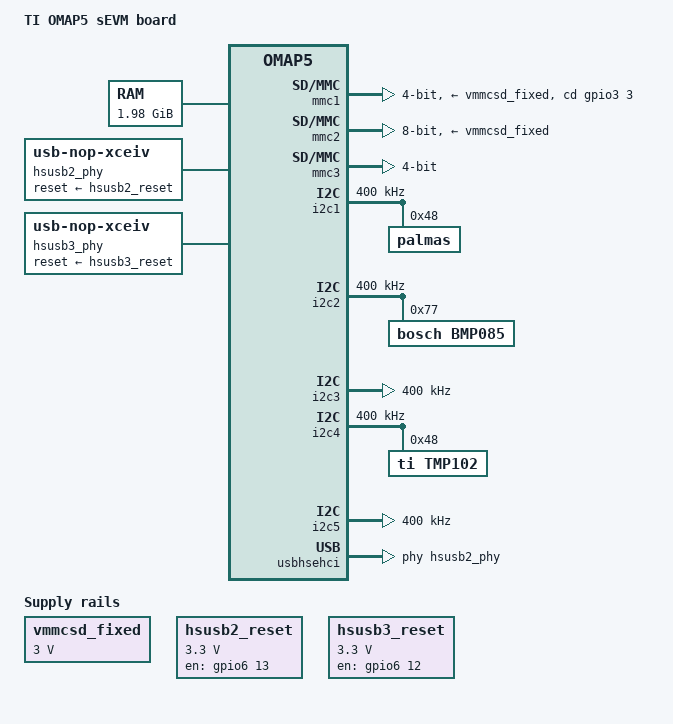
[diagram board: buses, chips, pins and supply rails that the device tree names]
/*
 * Copyright (C) 2012 Texas Instruments Incorporated - http://www.ti.com/
 *
 * This program is free software; you can redistribute it and/or modify
 * it under the terms of the GNU General Public License version 2 as
 * published by the Free Software Foundation.
 */
/dts-v1/;

/include/ "omap5.dtsi"
/include/ "samsung_k3pe0e000b.dtsi"

/ {
	model = "TI OMAP5 sEVM board";
	compatible = "ti,omap5-sevm", "ti,omap5";

	memory {
		device_type = "memory";
		reg = <0x80000000 0x7F000000>; /* 2032 MB */
	};

	vmmcsd_fixed: fixedregulator-mmcsd {
		compatible = "regulator-fixed";
		regulator-name = "vmmcsd_fixed";
		regulator-min-microvolt = <3000000>;
		regulator-max-microvolt = <3000000>;
	};

	/* HS USB Port 2 RESET */
	hsusb2_reset: hsusb2_reset_reg {
		compatible = "regulator-fixed";
		regulator-name = "hsusb2_reset";
		regulator-min-microvolt = <3300000>;
		regulator-max-microvolt = <3300000>;
		gpio = <&gpio6 13 0>;	/* gpio6_173 HUB_NRESET */
		startup-delay-us = <70000>;
		enable-active-high;
	};

	/* HS USB Host PHY on PORT 2 */
	hsusb2_phy: hsusb2_phy {
		compatible = "usb-nop-xceiv";
		reset-supply = <&hsusb2_reset>;
	};

	/* HS USB Port 3 RESET */
	hsusb3_reset: hsusb3_reset_reg {
		compatible = "regulator-fixed";
		regulator-name = "hsusb3_reset";
		regulator-min-microvolt = <3300000>;
		regulator-max-microvolt = <3300000>;
		gpio = <&gpio6 12 0>;	/* gpio6_172 ETH_NRESET */
		startup-delay-us = <70000>;
		enable-active-high;
	};

	/* HS USB Host PHY on PORT 3 */
	hsusb3_phy: hsusb3_phy {
		compatible = "usb-nop-xceiv";
		reset-supply = <&hsusb3_reset>;
	};

};

&omap5_pmx_core {
	pinctrl-names = "default";
	pinctrl-0 = <
			&twl6040_pins
			&mcpdm_pins
			&dmic_pins
			&mcbsp1_pins
			&mcbsp2_pins
			&usbhost_pins
	>;

	mmc1_pins: pinmux_mmc1_pins {
		pinctrl-single,pins = <
			0x1a2 0x118	/* sdcard_clk.sdcard_clk INPUT PULLUP | MODE0 */
			0x1a4 0x118	/* sdcard_cmd.sdcard_cmd INPUT PULLUP | MODE0 */
			0x1a6 0x118	/* sdcard_data2.sdcard_data2 INPUT PULLUP | MODE0 */
			0x1a8 0x118	/* sdcard_data3.sdcard_data3 INPUT PULLUP | MODE0 */
			0x1aa 0x118	/* sdcard_data0.sdcard_data0 INPUT PULLUP | MODE0 */
			0x1ac 0x118	/* sdcard_data1.sdcard_data1 INPUT PULLUP | MODE0 */
		>;
	};

	mmc2_pins: pinmux_mmc2_pins {
		pinctrl-single,pins = <
			0x0 0x118	/* emmc_clk.emmc_clk INPUT PULLUP | MODE0 */
			0x2 0x118	/* emmc_cmd.emmc_cmd INPUT PULLUP | MODE0 */
			0x4 0x118	/* emmc_data0.emmc_data0 INPUT PULLUP | MODE0 */
			0x6 0x118	/* emmc_data1.emmc_data1 INPUT PULLUP | MODE0 */
			0x8 0x118	/* emmc_data2.emmc_data2 INPUT PULLUP | MODE0 */
			0xa 0x118	/* emmc_data3.emmc_data3 INPUT PULLUP | MODE0 */
			0xc 0x118	/* emmc_data4.emmc_data4 INPUT PULLUP | MODE0 */
			0xe 0x118	/* emmc_data5.emmc_data5 INPUT PULLUP | MODE0 */
			0x10 0x118	/* emmc_data6.emmc_data6 INPUT PULLUP | MODE0 */
			0x12 0x118	/* emmc_data7.emmc_data7 INPUT PULLUP | MODE0 */
		>;
	};

	twl6040_pins: pinmux_twl6040_pins {
		pinctrl-single,pins = <
			0x18a 0x6	/* perslimbus2_clock.gpio5_145 OUTPUT | MODE6 */
		>;
	};

	mcpdm_pins: pinmux_mcpdm_pins {
		pinctrl-single,pins = <
			0x142 0x108	/* abe_clks.abe_clks INPUT PULLDOWN | MODE0 */
			0x15c 0x108	/* abemcpdm_ul_data.abemcpdm_ul_data INPUT PULLDOWN | MODE0 */
			0x15e 0x108	/* abemcpdm_dl_data.abemcpdm_dl_data INPUT PULLDOWN | MODE0 */
			0x160 0x118	/* abemcpdm_frame.abemcpdm_frame INPUT PULLUP | MODE0 */
			0x162 0x108	/* abemcpdm_lb_clk.abemcpdm_lb_clk INPUT PULLDOWN | MODE0 */
		>;
	};

	dmic_pins: pinmux_dmic_pins {
		pinctrl-single,pins = <
			0x144 0x100	/* abedmic_din1.abedmic_din1 INPUT | MODE0 */
			0x146 0x100	/* abedmic_din2.abedmic_din2 INPUT | MODE0 */
			0x148 0x100	/* abedmic_din3.abedmic_din3 INPUT | MODE0 */
			0x14a 0		/* abedmic_clk1.abedmic_clk1 OUTPUT | MODE0 */
		>;
	};

	mcbsp1_pins: pinmux_mcbsp1_pins {
		pinctrl-single,pins = <
			0x14c 0x101	/* abedmic_clk2.abemcbsp1_fsx INPUT | MODE1 */
			0x14e 0x9	/* abedmic_clk3.abemcbsp1_dx OUTPUT PULLDOWN | MODE1 */
			0x150 0x101	/* abeslimbus1_clock.abemcbsp1_clkx INPUT | MODE0 */
			0x152 0x109	/* abeslimbus1_data.abemcbsp1_dr INPUT PULLDOWN | MODE1 */
		>;
	};

	mcbsp2_pins: pinmux_mcbsp2_pins {
		pinctrl-single,pins = <
			0x154 0x108	/* abemcbsp2_dr.abemcbsp2_dr INPUT PULLDOWN | MODE0 */
			0x156 0x8	/* abemcbsp2_dx.abemcbsp2_dx OUTPUT PULLDOWN | MODE0 */
			0x158 0x100	/* abemcbsp2_fsx.abemcbsp2_fsx INPUT | MODE0 */
			0x15a 0x100	/* abemcbsp2_clkx.abemcbsp2_clkx INPUT | MODE0 */
		>;
	};

	usbhost_pins: pinmux_usbhost_pins {
		pinctrl-single,pins = <
			0x84 0x100	/* usbb2_hsic_strobe INPUT | MODE 0 */
			0x86 0x100	/* usbb2_hsic_data INPUT | MODE 0 */

			0x19e 0x100	/* usbb3_hsic_strobe INPUT | MODE 0 */
			0x1a0 0x100	/* usbb3_hsic_data INPUT | MODE 0 */

			0xD4 0x6	/* gpio6_173 OUTPUT | MODE 6 HUB_NRESET */
			0xD6 0x6	/* gpio6_172 OUTPUT | MODE 6 ETH_NRESET */
		>;
	};

        i2c1_pins: pinmux_i2c1_pins {
                pinctrl-single,pins = <
                        0x1b2 0x118        /* i2c1_scl PULLUP | INPUTENABLE | MODE0 */
                        0x1b4 0x118        /* i2c1_sda PULLUP | INPUTENABLE | MODE0 */
                >;
        };

	i2c2_pins: pinmux_i2c2_pins {
		pinctrl-single,pins = <
			0x178 0x100        /* i2c2_scl INPUTENABLE | MODE0 */
			0x17a 0x100        /* i2c2_sda INPUTENABLE | MODE0 */
		>;
	};

	i2c3_pins: pinmux_i2c3_pins {
		pinctrl-single,pins = <
			0x13a 0x100        /* i2c3_scl INPUTENABLE | MODE0 */
			0x13c 0x100     /* i2c3_sda INPUTENABLE | MODE0 */
		>;
	};

	i2c4_pins: pinmux_i2c4_pins {
		pinctrl-single,pins = <
			0xb8 0x100        /* i2c4_scl INPUTENABLE | MODE0 */
			0xba 0x100     /* i2c4_sda INPUTENABLE | MODE0 */
		>;
	};

	i2c5_pins: pinmux_i2c5_pins {
		pinctrl-single,pins = <
			0x184 0x100        /* i2c5_scl INPUTENABLE | MODE0 */
			0x186 0x100     /* i2c5_sda INPUTENABLE | MODE0 */
		>;
	};

	mcspi2_pins: pinmux_mcspi2_pins {
		pinctrl-single,pins = <
			0xbc 0x100	/*  MCSPI2_CLK INPUTENABLE | MODE0 */
			0xbe 0x100	/*  MCSPI2_SIMO INPUTENABLE | MODE0 */
			0xc0 0x118	/*  MCSPI2_SOMI PULLUP | INPUTENABLE | MODE0*/
			0xc2 0x0	/*  MCSPI2_CS MODE0*/
		>;
	};

	mcspi3_pins: pinmux_mcspi3_pins {
		pinctrl-single,pins = <
			0x78 0x101	/*  MCSPI2_SOMI INPUTENABLE | MODE1 */
			0x7a 0x101	/*  MCSPI2_CS INPUTENABLE | MODE1 */
			0x7c 0x101	/*  MCSPI2_SIMO INPUTENABLE | MODE1 */
			0x7e 0x101	/*  MCSPI2_CLK INPUTENABLE | MODE1 */
		>;
	};

	mcspi4_pins: pinmux_mcspi4_pins {
		pinctrl-single,pins = <
			0x164 0x101	/*  MCSPI2_CLK INPUTENABLE | MODE1 */
			0x168 0x101	/*  MCSPI2_SIMO INPUTENABLE | MODE1 */
			0x16a 0x101	/*  MCSPI2_SOMI INPUTENABLE | MODE1 */
			0x16c 0x101	/*  MCSPI2_CS INPUTENABLE | MODE1 */
		>;
	};
};

&mmc1 {
	pinctrl-names = "default";
	pinctrl-0 = <&mmc1_pins>;
	vmmc-supply = <&vmmcsd_fixed>;
	bus-width = <4>;
	cd-gpios = <&gpio3 3 0>; /* gpio 67 */
};

&mmc2 {
	pinctrl-names = "default";
	pinctrl-0 = <&mmc2_pins>;
	vmmc-supply = <&vmmcsd_fixed>;
	bus-width = <8>;
	ti,non-removable;
};

&mmc3 {
	bus-width = <4>;
	ti,non-removable;
};

&mmc4 {
	status = "disabled";
};

&mmc5 {
	status = "disabled";
};

&i2c1 {
	pinctrl-names = "default";
	pinctrl-0 = <&i2c1_pins>;

	clock-frequency = <400000>;
};

&i2c2 {
	pinctrl-names = "default";
	pinctrl-0 = <&i2c2_pins>;

	clock-frequency = <400000>;

	/* Pressure Sensor */
	bmp085@77 {
		compatible = "bosch,bmp085";
		reg = <0x77>;
	};
};

&i2c3 {
	pinctrl-names = "default";
	pinctrl-0 = <&i2c3_pins>;

	clock-frequency = <400000>;
};

&i2c4 {
	pinctrl-names = "default";
	pinctrl-0 = <&i2c4_pins>;

	clock-frequency = <400000>;

	/* Temperature Sensor */
	tmp102@48{
		compatible = "ti,tmp102";
		reg = <0x48>;
	};
};

&i2c5 {
	pinctrl-names = "default";
	pinctrl-0 = <&i2c5_pins>;

	clock-frequency = <400000>;
};

&keypad {
	keypad,num-rows = <8>;
	keypad,num-columns = <8>;
	linux,keymap = <0x02020073	/* VOLUP */
			0x02030072	/* VOLDOWM */
			0x020400e7	/* SEND */
			0x02050066	/* HOME */
			0x0206006b	/* END */
			0x020700d9>;	/* SEARCH */
	linux,input-no-autorepeat;
};

&mcbsp3 {
	status = "disabled";
};

&emif1 {
	cs1-used;
	device-handle = <&samsung_K3PE0E000B>;
};

&emif2 {
	cs1-used;
	device-handle = <&samsung_K3PE0E000B>;
};

&usbhshost {
	port2-mode = "ehci-hsic";
	port3-mode = "ehci-hsic";
};

&usbhsehci {
	phys = <0 &hsusb2_phy &hsusb3_phy>;
};

&i2c1 {
	clock-frequency = <400000>;

	palmas: palmas@48 {
		reg = <0x48>;
		/* SPI = 0, IRQ# = 7, 4 = active high level-sensitive */
		interrupts = <0 7 4>; /* IRQ_SYS_1N cascaded to gic */
		interrupt-parent = <&gic>;
	};

};

/include/ "palmas.dtsi"

&mcspi1 {

};

&mcspi2 {
	pinctrl-names = "default";
	pinctrl-0 = <&mcspi2_pins>;
};

&mcspi3 {
	pinctrl-names = "default";
	pinctrl-0 = <&mcspi3_pins>;
};

&mcspi4 {
	pinctrl-names = "default";
	pinctrl-0 = <&mcspi4_pins>;
};
